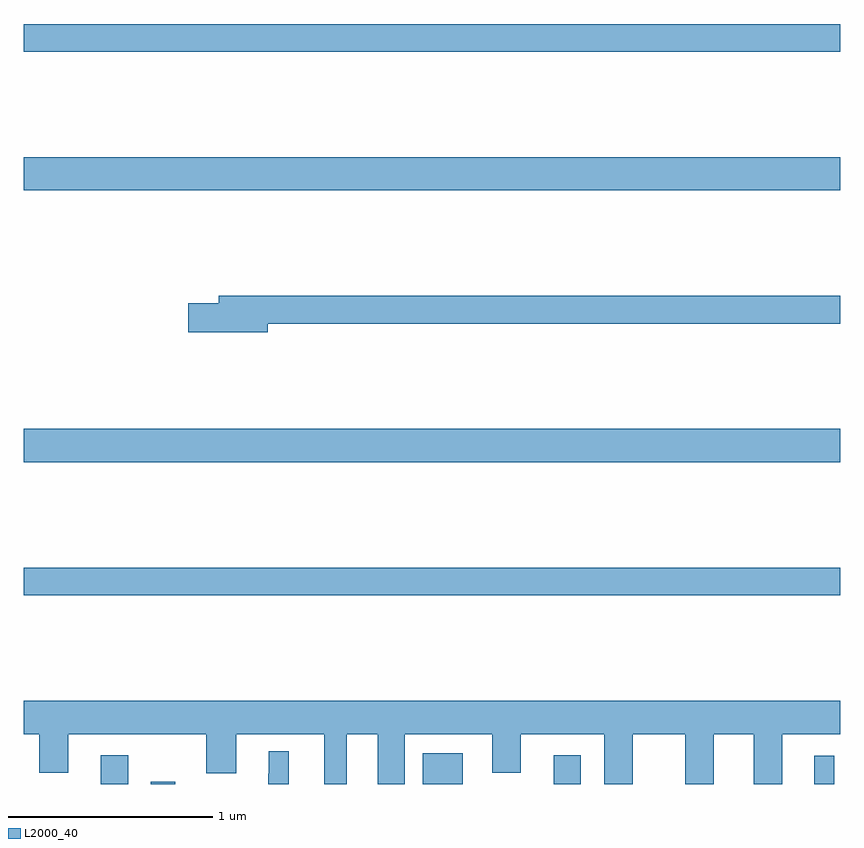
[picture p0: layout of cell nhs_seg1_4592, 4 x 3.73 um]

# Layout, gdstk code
import gdstk
lib = gdstk.Library(unit=1e-6, precision=1e-09)
def R(c, l, rs):  # rectangles x0, y0, x1, y1
    for r in rs: c.add(gdstk.rectangle(r[:2], r[2:], *l))
def P(c, l, *ps):  # polygons
    for p in ps: c.add(gdstk.Polygon(p, *l))
L2000_40 = (2000, 40)

nhs_seg1_4592 = lib.new_cell('nhs_seg1_4592')
R(nhs_seg1_4592, L2000_40, [(361.376,506.199,361.51,506.341), (361.622,506.199,361.741,506.209), (362.955,506.199,363.151,506.35), (363.596,506.199,363.73,506.341), (364.874,506.199,364.972,506.338), (361,507.124,365,507.26), (361,507.776,365,507.94), (361,509.108,365,509.272), (361,509.788,365,509.924)])
P(nhs_seg1_4592, L2000_40, [(362.194,508.456),(365,508.456),(365,508.592),(361.955,508.592),(361.955,508.556),(361.806,508.556),(361.806,508.414),(362.194,508.414)],
  [(361,506.444),(361.076,506.444),(361.076,506.254),(361.216,506.254),(361.216,506.444),(361.894,506.444),(361.894,506.252),(362.041,506.252),(362.041,506.444),(362.471,506.444),(362.471,506.199),(362.581,506.199),(362.581,506.444),(362.735,506.444),(362.735,506.199),(362.866,506.199),(362.866,506.444),(363.296,506.444),(363.296,506.254),(363.436,506.254),(363.436,506.444),(363.845,506.444),(363.845,506.199),(363.985,506.199),(363.985,506.444),(364.241,506.444),(364.241,506.199),(364.381,506.199),(364.381,506.444),(364.577,506.444),(364.577,506.199),(364.717,506.199),(364.717,506.444),(365,506.444),(365,506.608),(361,506.608)],
  [(362.299,506.359),(362.201,506.359),(362.201,506.249),(362.197,506.249),(362.197,506.199),(362.299,506.199)])

lib.write_gds('nhs_seg1_4592.gds')
